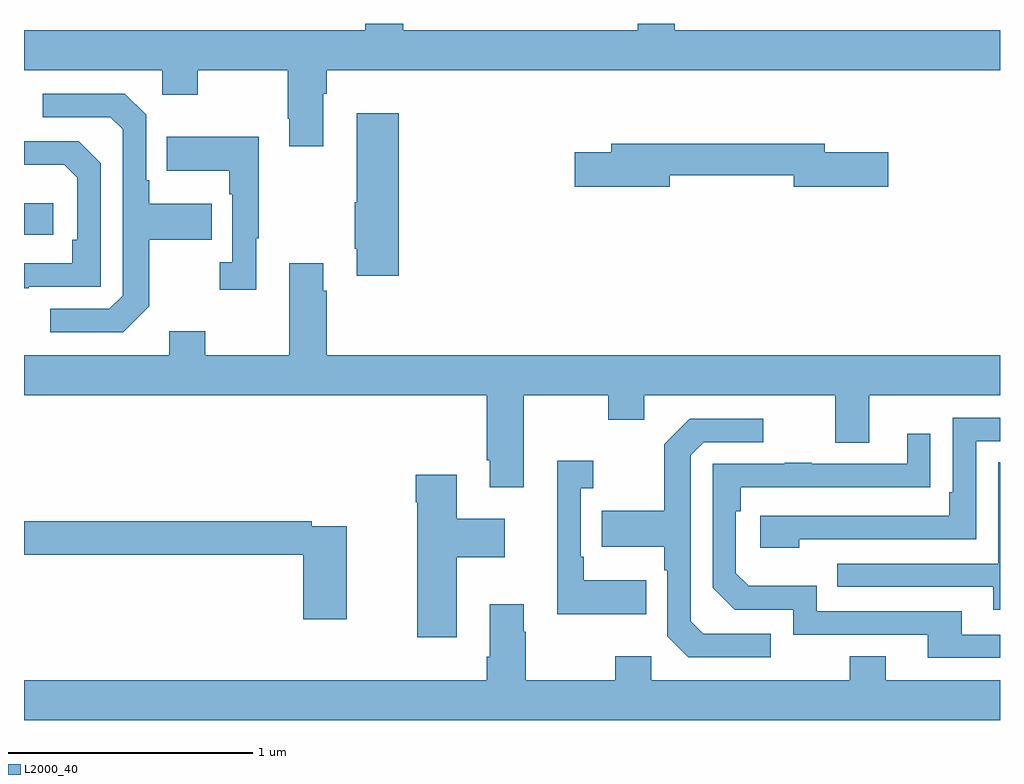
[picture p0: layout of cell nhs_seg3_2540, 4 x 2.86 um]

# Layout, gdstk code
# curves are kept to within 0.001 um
import gdstk
lib = gdstk.Library(unit=1e-6, precision=1e-09)
def R(c, l, rs):  # rectangles x0, y0, x1, y1
    for r in rs: c.add(gdstk.rectangle(r[:2], r[2:], *l))
def P(c, l, *ps):  # polygons
    for p in ps: c.add(gdstk.Polygon(p, *l))
L2000_40 = (2000, 40)

nhs_seg3_2540 = lib.new_cell('nhs_seg3_2540')
R(nhs_seg3_2540, L2000_40, [(241,741.534,241.12,741.664)])
P(nhs_seg3_2540, L2000_40, [(242.227,742.112),(242.24,742.112),(242.24,742.208),(245,742.208),(245,742.372),(243.668,742.372),(243.668,742.4),(243.515,742.4),(243.515,742.372),(242.555,742.372),(242.555,742.4),(242.399,742.4),(242.399,742.372),(241,742.372),(241,742.208),(241.566,742.208),(241.566,742.109),(241.713,742.109),(241.713,742.208),(242.08,742.208),(242.08,742.009),(242.087,742.009),(242.087,741.897),(242.227,741.897)],
  [(241.513,741.241),(241.513,741.514),(241.769,741.514),(241.769,741.661),(241.513,741.661),(241.513,741.757),(241.5,741.757),(241.5,742.026),(241.413,742.113),(241.077,742.113),(241.077,742.017),(241.353,742.017),(241.404,741.966),(241.404,741.285),(241.35,741.231),(241.107,741.231),(241.107,741.135),(241.407,741.135)],
  [(242.536,742.033),(242.363,742.033),(242.363,741.667),(242.356,741.667),(242.356,741.478),(242.363,741.478),(242.363,741.366),(242.536,741.366)],
  [(241.951,741.521),(241.963,741.521),(241.963,741.937),(241.585,741.937),(241.585,741.797),(241.842,741.797),(241.842,741.701),(241.854,741.701),(241.854,741.422),(241.803,741.422),(241.803,741.309),(241.951,741.309)],
  [(241.019,741.321),(241.314,741.321),(241.314,741.828),(241.224,741.918),(241,741.918),(241,741.821),(241.165,741.821),(241.218,741.768),(241.218,741.514),(241.198,741.514),(241.198,741.417),(241,741.417),(241,741.316),(241.019,741.316)],
  [(243.646,741.778),(244.154,741.778),(244.154,741.731),(244.543,741.731),(244.543,741.873),(244.282,741.873),(244.282,741.907),(243.407,741.907),(243.407,741.873),(243.258,741.873),(243.258,741.731),(243.646,741.731)],
  [(243.049,740.876),(243.394,740.876),(243.394,740.777),(243.541,740.777),(243.541,740.876),(244.325,740.876),(244.325,740.682),(244.465,740.682),(244.465,740.876),(245,740.876),(245,741.04),(242.24,741.04),(242.24,741.305),(242.227,741.305),(242.227,741.418),(242.087,741.418),(242.087,741.04),(241.743,741.04),(241.743,741.139),(241.595,741.139),(241.595,741.04),(241,741.04),(241,740.876),(242.897,740.876),(242.897,740.611),(242.909,740.611),(242.909,740.499),(243.049,740.499)],
  [(244.178,740.286),(244.902,740.286),(244.902,740.688),(245,740.688),(245,740.784),(244.806,740.784),(244.806,740.479),(244.793,740.479),(244.793,740.382),(244.017,740.382),(244.017,740.252),(244.178,740.252)],
  [(244.06,739.899),(243.783,739.899),(243.732,739.95),(243.732,740.631),(243.786,740.685),(244.03,740.685),(244.03,740.781),(243.729,740.781),(243.624,740.675),(243.624,740.403),(243.367,740.403),(243.367,740.255),(243.624,740.255),(243.624,740.159),(243.636,740.159),(243.636,739.89),(243.723,739.803),(244.06,739.803)],
  [(245,739.896),(244.843,739.896),(244.843,739.992),(244.248,739.992),(244.248,740.095),(243.971,740.095),(243.918,740.148),(243.918,740.402),(243.938,740.402),(243.938,740.499),(244.715,740.5),(244.715,740.719),(244.619,740.719),(244.619,740.595),(244.229,740.595),(244.229,740.6),(244.117,740.6),(244.117,740.595),(243.822,740.595),(243.822,740.088),(243.912,739.998),(244.152,739.998),(244.152,739.896),(244.703,739.896),(244.703,739.8),(245,739.8)],
  [(243.551,740.119),(243.295,740.119),(243.295,740.215),(243.282,740.215),(243.282,740.495),(243.334,740.495),(243.334,740.608),(243.185,740.608),(243.185,739.979),(243.551,739.979)],
  [(245,740.603),(244.992,740.603),(244.992,740.187),(244.333,740.187),(244.333,740.091),(244.973,740.091),(244.973,739.997),(245,739.997)],
  [(242.773,740.213),(242.971,740.213),(242.971,740.371),(242.773,740.371),(242.773,740.551),(242.606,740.551),(242.606,740.438),(242.611,740.438),(242.611,739.884),(242.773,739.884)],
  [(242.322,740.34),(242.18,740.34),(242.18,740.36),(241,740.36),(241,740.224),(242.144,740.224),(242.144,739.959),(242.322,739.959)],
  [(244.384,739.807),(244.384,739.708),(243.57,739.708),(243.57,739.807),(243.424,739.807),(243.424,739.708),(243.057,739.708),(243.057,739.907),(243.049,739.907),(243.049,740.02),(242.909,740.02),(242.909,739.804),(242.897,739.804),(242.897,739.708),(241,739.708),(241,739.544),(245,739.544),(245,739.708),(244.531,739.708),(244.531,739.807)])

lib.write_gds('nhs_seg3_2540.gds')
